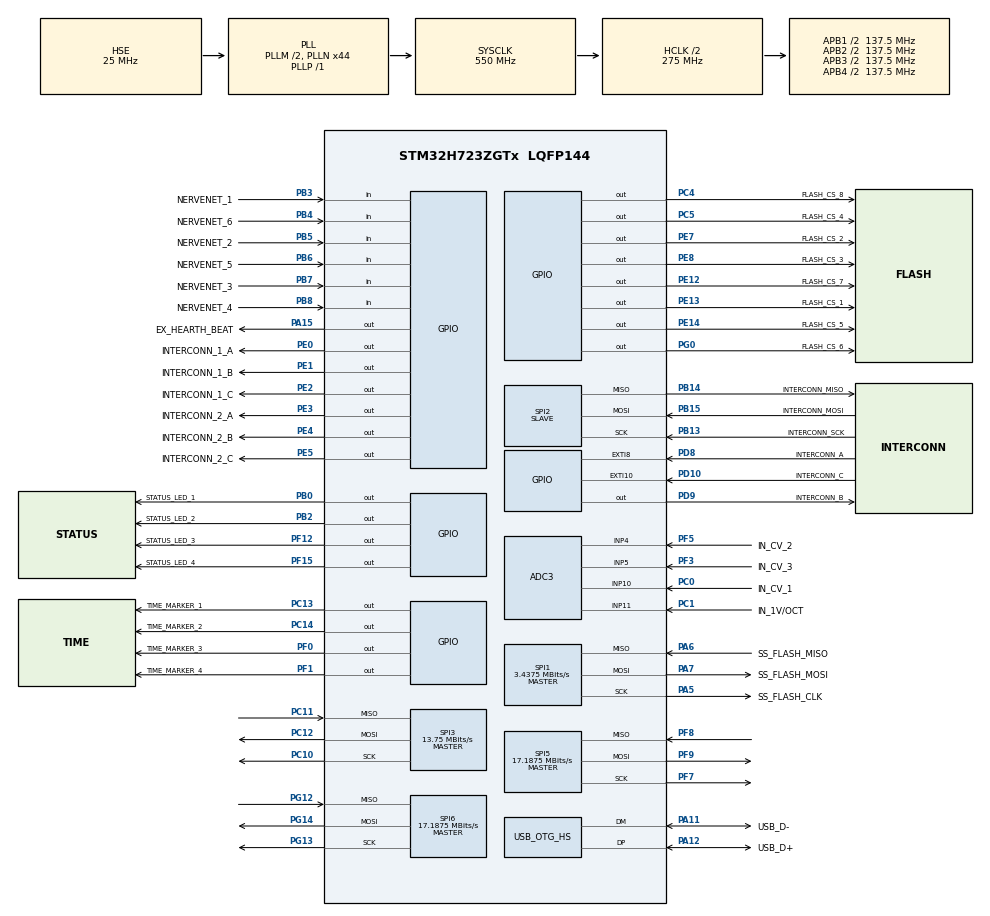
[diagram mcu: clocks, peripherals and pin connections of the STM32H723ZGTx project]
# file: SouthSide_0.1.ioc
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ADC3.Channel-0\#ChannelRegularConversion=ADC_CHANNEL_5
ADC3.NbrOfConversionFlag=1
ADC3.OffsetNumber-0\#ChannelRegularConversion=ADC_OFFSET_NONE
ADC3.OffsetSign-0\#ChannelRegularConversion=ADC3_OFFSET_SIGN_NEGATIVE
ADC3.Rank-0\#ChannelRegularConversion=1
ADC3.SamplingTime-0\#ChannelRegularConversion=ADC3_SAMPLETIME_2CYCLES_5
CORTEX_M7.default_mode_Activation=1
Dma.Request0=SPI2_RX
Dma.Request1=SPI2_TX
Dma.SPI2_RX.0.Direction=DMA_PERIPH_TO_MEMORY
Dma.SPI2_RX.0.EventEnable=DISABLE
Dma.SPI2_RX.0.FIFOMode=DMA_FIFOMODE_DISABLE
Dma.SPI2_RX.0.Instance=DMA1_Stream0
Dma.SPI2_RX.0.MemDataAlignment=DMA_MDATAALIGN_BYTE
Dma.SPI2_RX.0.MemInc=DMA_MINC_ENABLE
Dma.SPI2_RX.0.Mode=DMA_NORMAL
Dma.SPI2_RX.0.PeriphDataAlignment=DMA_PDATAALIGN_BYTE
Dma.SPI2_RX.0.PeriphInc=DMA_PINC_DISABLE
Dma.SPI2_RX.0.Polarity=HAL_DMAMUX_REQ_GEN_RISING
Dma.SPI2_RX.0.Priority=DMA_PRIORITY_VERY_HIGH
Dma.SPI2_RX.0.RequestNumber=1
Dma.SPI2_RX.0.SignalID=NONE
Dma.SPI2_RX.0.SyncEnable=DISABLE
Dma.SPI2_RX.0.SyncPolarity=HAL_DMAMUX_SYNC_NO_EVENT
Dma.SPI2_RX.0.SyncRequestNumber=1
Dma.SPI2_RX.0.SyncSignalID=NONE
Dma.SPI2_TX.1.Direction=DMA_MEMORY_TO_PERIPH
Dma.SPI2_TX.1.EventEnable=DISABLE
Dma.SPI2_TX.1.FIFOMode=DMA_FIFOMODE_DISABLE
Dma.SPI2_TX.1.Instance=DMA1_Stream1
Dma.SPI2_TX.1.MemDataAlignment=DMA_MDATAALIGN_BYTE
Dma.SPI2_TX.1.MemInc=DMA_MINC_ENABLE
Dma.SPI2_TX.1.Mode=DMA_NORMAL
Dma.SPI2_TX.1.PeriphDataAlignment=DMA_PDATAALIGN_BYTE
Dma.SPI2_TX.1.PeriphInc=DMA_PINC_DISABLE
Dma.SPI2_TX.1.Polarity=HAL_DMAMUX_REQ_GEN_RISING
Dma.SPI2_TX.1.Priority=DMA_PRIORITY_VERY_HIGH
Dma.SPI2_TX.1.RequestNumber=1
Dma.SPI2_TX.1.SignalID=NONE
Dma.SPI2_TX.1.SyncEnable=DISABLE
Dma.SPI2_TX.1.SyncPolarity=HAL_DMAMUX_SYNC_NO_EVENT
Dma.SPI2_TX.1.SyncRequestNumber=1
Dma.SPI2_TX.1.SyncSignalID=NONE
FREERTOS.Tasks01=defaultTask,24,128,StartDefaultTask,Default,NULL,Dynamic,NULL,NULL
FREERTOS.configENABLE_FPU=1
FREERTOS.configTOTAL_HEAP_SIZE=32768
FREERTOS.configUSE_NEWLIB_REENTRANT=1
Mcu.Family=STM32H7
Mcu.Name=STM32H723ZGTx
Mcu.Package=LQFP144
NVIC.DMA1_Stream0_IRQn=true\:5\:0\:false\:false\:true\:false\:false\:true\:true
NVIC.DMA1_Stream1_IRQn=true\:5\:0\:false\:false\:true\:false\:false\:true\:true
NVIC.EXTI15_10_IRQn=true\:5\:0\:false\:false\:true\:true\:true\:true\:true
NVIC.EXTI9_5_IRQn=true\:5\:0\:false\:false\:true\:true\:true\:true\:true
NVIC.PriorityGroup=NVIC_PRIORITYGROUP_4
NVIC.SPI2_IRQn=true\:5\:0\:false\:false\:true\:true\:false\:true\:true
NVIC.TIM15_IRQn=true\:5\:0\:false\:false\:true\:false\:true\:true\:true
NVIC.TIM1_UP_IRQn=true\:15\:0\:false\:false\:true\:false\:false\:true\:true
NVIC.TIM3_IRQn=true\:5\:0\:true\:false\:true\:false\:true\:true\:true
NVIC.TimeBase=TIM1_UP_IRQn
NVIC.TimeBaseIP=TIM1
PA11.GPIO_Label=USB_D-
PA11.Mode=Device_Only_FS
PA11.Signal=USB_OTG_HS_DM
PA12.GPIO_Label=USB_D+
PA12.Mode=Device_Only_FS
PA12.Signal=USB_OTG_HS_DP
PA13(JTMS/SWDIO).Mode=Serial_Wire
PA13(JTMS/SWDIO).Signal=DEBUG_JTMS-SWDIO
PA14(JTCK/SWCLK).Mode=Serial_Wire
PA14(JTCK/SWCLK).Signal=DEBUG_JTCK-SWCLK
PA15(JTDI).GPIO_Label=EX_HEARTH_BEAT
PA15(JTDI).Signal=GPIO_Output
PA5.GPIO_Label=SS_FLASH_CLK
PA5.Mode=Full_Duplex_Master
PA5.Signal=SPI1_SCK
PA6.GPIO_Label=SS_FLASH_MISO
PA6.Mode=Full_Duplex_Master
PA6.Signal=SPI1_MISO
PA7.GPIO_Label=SS_FLASH_MOSI
PA7.Mode=Full_Duplex_Master
PA7.Signal=SPI1_MOSI
PB0.GPIO_Label=STATUS_LED_1
PB0.Signal=GPIO_Output
PB13.GPIO_Label=INTERCONN_SCK
PB13.Mode=Full_Duplex_Slave
PB13.Signal=SPI2_SCK
PB14.GPIO_Label=INTERCONN_MISO
PB14.Mode=Full_Duplex_Slave
PB14.Signal=SPI2_MISO
PB15.GPIO_Label=INTERCONN_MOSI
PB15.Mode=Full_Duplex_Slave
PB15.Signal=SPI2_MOSI
PB2.GPIO_Label=STATUS_LED_2
PB2.Signal=GPIO_Output
PB3(JTDO/TRACESWO).GPIO_Label=NERVENET_1
PB3(JTDO/TRACESWO).Signal=GPIO_Input
PB4(NJTRST).GPIO_Label=NERVENET_6
PB4(NJTRST).Signal=GPIO_Input
PB5.GPIO_Label=NERVENET_2
PB5.Signal=GPIO_Input
PB6.GPIO_Label=NERVENET_5
PB6.Signal=GPIO_Input
PB7.GPIO_Label=NERVENET_3
PB7.Signal=GPIO_Input
PB8.GPIO_Label=NERVENET_4
PB8.Signal=GPIO_Input
PC0.GPIO_Label=IN_CV_1
PC0.Signal=ADCx_INP10
PC1.GPIO_Label=IN_1V/OCT
PC1.Signal=ADCx_INP11
PC10.Mode=Full_Duplex_Master
PC10.Signal=SPI3_SCK
PC11.Mode=Full_Duplex_Master
PC11.Signal=SPI3_MISO
PC12.Mode=Full_Duplex_Master
PC12.Signal=SPI3_MOSI
PC13.GPIO_Label=TIME_MARKER_1
PC13.Signal=GPIO_Output
PC14-OSC32_IN.GPIO_Label=TIME_MARKER_2
PC14-OSC32_IN.Signal=GPIO_Output
PC4.GPIO_Label=FLASH_CS_8
PC4.Signal=GPIO_Output
PC5.GPIO_Label=FLASH_CS_4
PC5.Signal=GPIO_Output
PD10.GPIO_Label=INTERCONN_C
PD10.GPIO_ModeDefaultEXTI=GPIO_MODE_IT_FALLING
PD10.Signal=GPXTI10
PD8.GPIO_Label=INTERCONN_A
PD8.GPIO_ModeDefaultEXTI=GPIO_MODE_IT_RISING_FALLING
PD8.Signal=GPXTI8
PD9.GPIO_Label=INTERCONN_B
PD9.GPIO_PuPd=GPIO_PULLUP
PD9.GPIO_Speed=GPIO_SPEED_FREQ_MEDIUM
PD9.PinState=GPIO_PIN_RESET
PD9.Signal=GPIO_Output
PE0.GPIO_Label=INTERCONN_1_A
PE0.Signal=GPIO_Output
PE1.GPIO_Label=INTERCONN_1_B
PE1.Signal=GPIO_Output
PE12.GPIO_Label=FLASH_CS_7
PE12.Signal=GPIO_Output
PE13.GPIO_Label=FLASH_CS_1
PE13.Signal=GPIO_Output
PE14.GPIO_Label=FLASH_CS_5
PE14.Signal=GPIO_Output
PE2.GPIO_Label=INTERCONN_1_C
PE2.Signal=GPIO_Output
PE3.GPIO_Label=INTERCONN_2_A
PE3.Signal=GPIO_Output
PE4.GPIO_Label=INTERCONN_2_B
PE4.Signal=GPIO_Output
PE5.GPIO_Label=INTERCONN_2_C
PE5.Signal=GPIO_Output
PE7.GPIO_Label=FLASH_CS_2
PE7.Signal=GPIO_Output
PE8.GPIO_Label=FLASH_CS_3
PE8.Signal=GPIO_Output
PF0.GPIO_Label=TIME_MARKER_3
PF0.Signal=GPIO_Output
PF1.GPIO_Label=TIME_MARKER_4
PF1.Signal=GPIO_Output
PF12.GPIO_Label=STATUS_LED_3
PF12.Signal=GPIO_Output
PF15.GPIO_Label=STATUS_LED_4
PF15.Signal=GPIO_Output
PF3.GPIO_Label=IN_CV_3
PF3.Mode=IN5-Single-Ended
PF3.Signal=ADC3_INP5
PF5.GPIO_Label=IN_CV_2
PF5.Mode=IN4-Single-Ended
PF5.Signal=ADC3_INP4
PF7.Mode=Full_Duplex_Master
PF7.Signal=SPI5_SCK
PF8.Mode=Full_Duplex_Master
PF8.Signal=SPI5_MISO
PF9.Mode=Full_Duplex_Master
PF9.Signal=SPI5_MOSI
PG0.GPIO_Label=FLASH_CS_6
PG0.Signal=GPIO_Output
PG12.Mode=Full_Duplex_Master
PG12.Signal=SPI6_MISO
PG13.Mode=Full_Duplex_Master
PG13.Signal=SPI6_SCK
PG14.Mode=Full_Duplex_Master
PG14.Signal=SPI6_MOSI
PH0-OSC_IN.Mode=HSE-External-Oscillator
PH0-OSC_IN.Signal=RCC_OSC_IN
PH1-OSC_OUT.Mode=HSE-External-Oscillator
PH1-OSC_OUT.Signal=RCC_OSC_OUT
ProjectManager.HeapSize=0x200
ProjectManager.StackSize=0x400
ProjectManager.TargetToolchain=STM32CubeIDE
RCC.ADCFreq_Value=100000000
RCC.APB1Freq_Value=137500000
RCC.APB2Freq_Value=137500000
RCC.APB3Freq_Value=137500000
RCC.APB4Freq_Value=137500000
RCC.CortexFreq_Value=550000000
RCC.D1PPRE=RCC_APB3_DIV2
RCC.D2PPRE1=RCC_APB1_DIV2
RCC.D2PPRE2=RCC_APB2_DIV2
RCC.D3PPRE=RCC_APB4_DIV2
RCC.DIVM1=2
RCC.DIVM2=2
RCC.DIVN1=44
RCC.DIVN2=16
RCC.DIVP1=1
RCC.DIVQ1=5
RCC.HCLKFreq_Value=275000000
RCC.HPRE=RCC_HCLK_DIV2
RCC.PLL2FRACN=0
RCC.PLL3FRACN=0
RCC.PLLFRACN=0
RCC.SYSCLKFreq_VALUE=550000000
RCC.SYSCLKSource=RCC_SYSCLKSOURCE_PLLCLK
RCC.USBFreq_Value=110000000
SH.ADCx_INP10.0=ADC3_INP10,IN10-Single-Ended
SH.ADCx_INP11.0=ADC3_INP11,IN11-Single-Ended
SPI1.BaudRatePrescaler=SPI_BAUDRATEPRESCALER_32
SPI1.CalculateBaudRate=3.4375 MBits/s
SPI1.DataSize=SPI_DATASIZE_8BIT
SPI1.Direction=SPI_DIRECTION_2LINES
SPI1.Mode=SPI_MODE_MASTER
SPI1.VirtualType=VM_MASTER
SPI2.DataSize=SPI_DATASIZE_8BIT
SPI2.Direction=SPI_DIRECTION_2LINES
SPI2.Mode=SPI_MODE_SLAVE
SPI2.VirtualType=VM_SLAVE
SPI3.BaudRatePrescaler=SPI_BAUDRATEPRESCALER_8
SPI3.CalculateBaudRate=13.75 MBits/s
SPI3.DataSize=SPI_DATASIZE_8BIT
SPI3.Direction=SPI_DIRECTION_2LINES
SPI3.Mode=SPI_MODE_MASTER
SPI3.VirtualType=VM_MASTER
SPI5.BaudRatePrescaler=SPI_BAUDRATEPRESCALER_8
SPI5.CalculateBaudRate=17.1875 MBits/s
SPI5.DataSize=SPI_DATASIZE_8BIT
SPI5.Direction=SPI_DIRECTION_2LINES
SPI5.Mode=SPI_MODE_MASTER
SPI5.VirtualType=VM_MASTER
SPI6.BaudRatePrescaler=SPI_BAUDRATEPRESCALER_8
SPI6.CalculateBaudRate=17.1875 MBits/s
SPI6.DataSize=SPI_DATASIZE_8BIT
SPI6.Direction=SPI_DIRECTION_2LINES
SPI6.Mode=SPI_MODE_MASTER
SPI6.VirtualType=VM_MASTER
TIM15.Period=1000 - 1
TIM15.Prescaler=1000 - 1
TIM2.Period=10 - 1
TIM2.Prescaler=2750 - 1
TIM3.Period=50 - 1
TIM3.Prescaler=27500 - 1
TIM5.Period=1000000000 - 1
TIM5.Prescaler=275 - 1
USB_OTG_HS.VirtualMode-Device_Only_FS=Device_Only_FS
VP_FREERTOS_VS_CMSIS_V2.Mode=CMSIS_V2
VP_MEMORYMAP_VS_MEMORYMAP.Mode=CurAppReg
VP_SYS_VS_tim1.Mode=TIM1
VP_TIM15_VS_ClockSourceINT.Mode=Internal
VP_TIM2_VS_ClockSourceINT.Mode=Internal
VP_TIM3_VS_ClockSourceINT.Mode=Internal
VP_TIM5_VS_ClockSourceINT.Mode=Internal
board=custom

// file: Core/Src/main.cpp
/* USER CODE BEGIN Header */
/**
  ******************************************************************************
  * @file           : main.c
  * @brief          : Main program body
  ******************************************************************************
  * @attention
  *
  * Copyright (c) 2024 STMicroelectronics.
  * All rights reserved.
  *
  * This software is licensed under terms that can be found in the LICENSE file
  * in the root directory of this software component.
  * If no LICENSE file comes with this software, it is provided AS-IS.
  *
  ******************************************************************************
  */
/* USER CODE END Header */
#include "main.h"
#include "cmsis_os.h"

/* USER CODE BEGIN Includes */

#include "CasualNoises.h"

#include "SouthSideAudioProcessor.h"

//#include "NorthSouthComThread.h"

/* USER CODE END Includes */

ADC_HandleTypeDef hadc3;

SPI_HandleTypeDef hspi1;
SPI_HandleTypeDef hspi2;
SPI_HandleTypeDef hspi3;
SPI_HandleTypeDef hspi5;
SPI_HandleTypeDef hspi6;
DMA_HandleTypeDef hdma_spi2_rx;
DMA_HandleTypeDef hdma_spi2_tx;

TIM_HandleTypeDef htim2;
TIM_HandleTypeDef htim3;
TIM_HandleTypeDef htim5;
TIM_HandleTypeDef htim15;

PCD_HandleTypeDef hpcd_USB_OTG_HS;

/* Definitions for defaultTask */
osThreadId_t defaultTaskHandle;
const osThreadAttr_t defaultTask_attributes = {
  .name = "defaultTask",
  .stack_size = 128 * 4,
  .priority = (osPriority_t) osPriorityNormal,
};

void SystemClock_Config(void);
static void MPU_Config(void);
static void MX_GPIO_Init(void);
static void MX_DMA_Init(void);
static void MX_USB_OTG_HS_PCD_Init(void);
static void MX_SPI1_Init(void);
static void MX_SPI2_Init(void);
static void MX_SPI3_Init(void);
static void MX_SPI5_Init(void);
static void MX_SPI6_Init(void);
static void MX_ADC3_Init(void);
static void MX_TIM5_Init(void);
static void MX_TIM2_Init(void);
static void MX_TIM3_Init(void);
static void MX_TIM15_Init(void);
void StartDefaultTask(void *argument);

/* USER CODE BEGIN 0 */

/*
 * displayStatus()
 */
void displayStatus(eStatusCodes status)
{
	uint32_t code = (uint32_t)status;
	HAL_GPIO_WritePin(GPIOB, STATUS_LED_2_Pin|STATUS_LED_1_Pin, GPIO_PIN_SET);
	HAL_GPIO_WritePin(GPIOF, STATUS_LED_4_Pin|STATUS_LED_3_Pin, GPIO_PIN_SET);
	if (code & 0x00000001)
		HAL_GPIO_WritePin(GPIOB, STATUS_LED_1_Pin, GPIO_PIN_RESET);
	if (code & 0x00000002)
		HAL_GPIO_WritePin(GPIOB, STATUS_LED_2_Pin, GPIO_PIN_RESET);
	if (code & 0x00000004)
		HAL_GPIO_WritePin(GPIOF, STATUS_LED_3_Pin, GPIO_PIN_RESET);
	if (code & 0x00000008)
		HAL_GPIO_WritePin(GPIOF, STATUS_LED_4_Pin, GPIO_PIN_RESET);
}

/*
 * Time marker functions used for performance measurement using a logic analyzer
 */
void toggleTimeMarker_1()
{
	HAL_GPIO_TogglePin(GPIOC, TIME_MARKER_1_Pin);
}

void setTimeMarker_1()
{
	HAL_GPIO_WritePin(GPIOC, TIME_MARKER_1_Pin, GPIO_PIN_SET);
}

void resetTimeMarker_1()
{
	HAL_GPIO_WritePin(GPIOC, TIME_MARKER_1_Pin, GPIO_PIN_RESET);
}

void toggleTimeMarker_2()
{
	HAL_GPIO_TogglePin(GPIOC, TIME_MARKER_2_Pin);
}

void setTimeMarker_2()
{
	HAL_GPIO_WritePin(GPIOC, TIME_MARKER_2_Pin, GPIO_PIN_SET);
}

void resetTimeMarker_2()
{
	HAL_GPIO_WritePin(GPIOC, TIME_MARKER_2_Pin, GPIO_PIN_RESET);
}

void toggleTimeMarker_3()
{
	HAL_GPIO_TogglePin(GPIOF, TIME_MARKER_3_Pin);
}

void setTimeMarker_3()
{
	HAL_GPIO_WritePin(GPIOF, TIME_MARKER_3_Pin, GPIO_PIN_SET);
}

void resetTimeMarker_3()
{
	HAL_GPIO_WritePin(GPIOF, TIME_MARKER_3_Pin, GPIO_PIN_RESET);
}

void toggleTimeMarker_4()
{
	HAL_GPIO_TogglePin(GPIOF, TIME_MARKER_4_Pin);
}

void setTimeMarker_4()
{
	HAL_GPIO_WritePin(GPIOF, TIME_MARKER_4_Pin, GPIO_PIN_SET);
}

void resetTimeMarker_4()
{
	HAL_GPIO_WritePin(GPIOF, TIME_MARKER_4_Pin, GPIO_PIN_RESET);
}
/*
static CasualNoises::TLV_Driver* TLV_DriverPtr = nullptr;
void* getTLV_DriverPtr()
{
	return TLV_DriverPtr;
}
*/
/* USER CODE END 0 */

int main(void)
{

  /* MPU Configuration--------------------------------------------------------*/
  MPU_Config();

  /* MCU Configuration--------------------------------------------------------*/

  /* Reset of all peripherals, Initializes the Flash interface and the Systick. */
  HAL_Init();

  /* Configure the system clock */
  SystemClock_Config();

  /* Initialize all configured peripherals */
  MX_GPIO_Init();
  MX_DMA_Init();
  MX_USB_OTG_HS_PCD_Init();
  MX_SPI1_Init();
  MX_SPI2_Init();
  MX_SPI3_Init();
  MX_SPI5_Init();
  MX_SPI6_Init();
  MX_ADC3_Init();
  MX_TIM5_Init();
  MX_TIM2_Init();
  MX_TIM3_Init();
  MX_TIM15_Init();
  /* USER CODE BEGIN 2 */

  HAL_TIM_Base_Start_IT(&htim3);			// ToDo: do this in the appropriate gate/trigger thread
  HAL_TIM_Base_Start_IT(&htim15);			// ToDo: remove this, timer 15 is not used

  /* USER CODE END 2 */

  /* Init scheduler */
  osKernelInitialize();

  /* Create the thread(s) */
  /* creation of defaultTask */
  defaultTaskHandle = osThreadNew(StartDefaultTask, NULL, &defaultTask_attributes);

  /* Start scheduler */
  osKernelStart();

  /* We should never get here as control is now taken by the scheduler */

  /* Infinite loop */
  while (1)
  {

  }
}

void SystemClock_Config(void)
{
  RCC_OscInitTypeDef RCC_OscInitStruct = {0};
  RCC_ClkInitTypeDef RCC_ClkInitStruct = {0};

  /** Supply configuration update enable
  */
  HAL_PWREx_ConfigSupply(PWR_LDO_SUPPLY);

  /** Configure the main internal regulator output voltage
  */
  __HAL_PWR_VOLTAGESCALING_CONFIG(PWR_REGULATOR_VOLTAGE_SCALE0);

  while(!__HAL_PWR_GET_FLAG(PWR_FLAG_VOSRDY)) {}

  /** Initializes the RCC Oscillators according to the specified parameters
  * in the RCC_OscInitTypeDef structure.
  */
  RCC_OscInitStruct.OscillatorType = RCC_OSCILLATORTYPE_HSE;
  RCC_OscInitStruct.HSEState = RCC_HSE_ON;
  RCC_OscInitStruct.PLL.PLLState = RCC_PLL_ON;
  RCC_OscInitStruct.PLL.PLLSource = RCC_PLLSOURCE_HSE;
  RCC_OscInitStruct.PLL.PLLM = 2;
  RCC_OscInitStruct.PLL.PLLN = 44;
  RCC_OscInitStruct.PLL.PLLP = 1;
  RCC_OscInitStruct.PLL.PLLQ = 5;
  RCC_OscInitStruct.PLL.PLLR = 2;
  RCC_OscInitStruct.PLL.PLLRGE = RCC_PLL1VCIRANGE_3;
  RCC_OscInitStruct.PLL.PLLVCOSEL = RCC_PLL1VCOWIDE;
  RCC_OscInitStruct.PLL.PLLFRACN = 0;
  if (HAL_RCC_OscConfig(&RCC_OscInitStruct) != HAL_OK)
  {
    Error_Handler();
  }

  /** Initializes the CPU, AHB and APB buses clocks
  */
  RCC_ClkInitStruct.ClockType = RCC_CLOCKTYPE_HCLK|RCC_CLOCKTYPE_SYSCLK
                              |RCC_CLOCKTYPE_PCLK1|RCC_CLOCKTYPE_PCLK2
                              |RCC_CLOCKTYPE_D3PCLK1|RCC_CLOCKTYPE_D1PCLK1;
  RCC_ClkInitStruct.SYSCLKSource = RCC_SYSCLKSOURCE_PLLCLK;
  RCC_ClkInitStruct.SYSCLKDivider = RCC_SYSCLK_DIV1;
  RCC_ClkInitStruct.AHBCLKDivider = RCC_HCLK_DIV2;
  RCC_ClkInitStruct.APB3CLKDivider = RCC_APB3_DIV2;
  RCC_ClkInitStruct.APB1CLKDivider = RCC_APB1_DIV2;
  RCC_ClkInitStruct.APB2CLKDivider = RCC_APB2_DIV2;
  RCC_ClkInitStruct.APB4CLKDivider = RCC_APB4_DIV2;

  if (HAL_RCC_ClockConfig(&RCC_ClkInitStruct, FLASH_LATENCY_3) != HAL_OK)
  {
    Error_Handler();
  }
}

static void MX_ADC3_Init(void)
{

  ADC_ChannelConfTypeDef sConfig = {0};

  /** Common config
  */
  hadc3.Instance = ADC3;
  hadc3.Init.ClockPrescaler = ADC_CLOCK_ASYNC_DIV1;
  hadc3.Init.Resolution = ADC_RESOLUTION_12B;
  hadc3.Init.DataAlign = ADC3_DATAALIGN_RIGHT;
  hadc3.Init.ScanConvMode = ADC_SCAN_DISABLE;
  hadc3.Init.EOCSelection = ADC_EOC_SINGLE_CONV;
  hadc3.Init.LowPowerAutoWait = DISABLE;
  hadc3.Init.ContinuousConvMode = DISABLE;
  hadc3.Init.NbrOfConversion = 1;
  hadc3.Init.DiscontinuousConvMode = DISABLE;
  hadc3.Init.ExternalTrigConv = ADC_SOFTWARE_START;
  hadc3.Init.ExternalTrigConvEdge = ADC_EXTERNALTRIGCONVEDGE_NONE;
  hadc3.Init.DMAContinuousRequests = DISABLE;
  hadc3.Init.SamplingMode = ADC_SAMPLING_MODE_NORMAL;
  hadc3.Init.ConversionDataManagement = ADC_CONVERSIONDATA_DR;
  hadc3.Init.Overrun = ADC_OVR_DATA_PRESERVED;
  hadc3.Init.LeftBitShift = ADC_LEFTBITSHIFT_NONE;
  hadc3.Init.OversamplingMode = DISABLE;
  hadc3.Init.Oversampling.Ratio = ADC3_OVERSAMPLING_RATIO_2;
  if (HAL_ADC_Init(&hadc3) != HAL_OK)
  {
    Error_Handler();
  }

  /** Configure Regular Channel
  */
  sConfig.Channel = ADC_CHANNEL_5;
  sConfig.Rank = ADC_REGULAR_RANK_1;
  sConfig.SamplingTime = ADC3_SAMPLETIME_2CYCLES_5;
  sConfig.SingleDiff = ADC_SINGLE_ENDED;
  sConfig.OffsetNumber = ADC_OFFSET_NONE;
  sConfig.Offset = 0;
  sConfig.OffsetSign = ADC3_OFFSET_SIGN_NEGATIVE;
  if (HAL_ADC_ConfigChannel(&hadc3, &sConfig) != HAL_OK)
  {
    Error_Handler();
  }

}

static void MX_SPI1_Init(void)
{

  /* SPI1 parameter configuration*/
  hspi1.Instance = SPI1;
  hspi1.Init.Mode = SPI_MODE_MASTER;
  hspi1.Init.Direction = SPI_DIRECTION_2LINES;
  hspi1.Init.DataSize = SPI_DATASIZE_8BIT;
  hspi1.Init.CLKPolarity = SPI_POLARITY_LOW;
  hspi1.Init.CLKPhase = SPI_PHASE_1EDGE;
  hspi1.Init.NSS = SPI_NSS_SOFT;
  hspi1.Init.BaudRatePrescaler = SPI_BAUDRATEPRESCALER_32;
  hspi1.Init.FirstBit = SPI_FIRSTBIT_MSB;
  hspi1.Init.TIMode = SPI_TIMODE_DISABLE;
  hspi1.Init.CRCCalculation = SPI_CRCCALCULATION_DISABLE;
  hspi1.Init.CRCPolynomial = 0x0;
  hspi1.Init.NSSPMode = SPI_NSS_PULSE_ENABLE;
  hspi1.Init.NSSPolarity = SPI_NSS_POLARITY_LOW;
  hspi1.Init.FifoThreshold = SPI_FIFO_THRESHOLD_01DATA;
  hspi1.Init.TxCRCInitializationPattern = SPI_CRC_INITIALIZATION_ALL_ZERO_PATTERN;
  hspi1.Init.RxCRCInitializationPattern = SPI_CRC_INITIALIZATION_ALL_ZERO_PATTERN;
  hspi1.Init.MasterSSIdleness = SPI_MASTER_SS_IDLENESS_00CYCLE;
  hspi1.Init.MasterInterDataIdleness = SPI_MASTER_INTERDATA_IDLENESS_00CYCLE;
  hspi1.Init.MasterReceiverAutoSusp = SPI_MASTER_RX_AUTOSUSP_DISABLE;
  hspi1.Init.MasterKeepIOState = SPI_MASTER_KEEP_IO_STATE_DISABLE;
  hspi1.Init.IOSwap = SPI_IO_SWAP_DISABLE;
  if (HAL_SPI_Init(&hspi1) != HAL_OK)
  {
    Error_Handler();
  }

}

static void MX_SPI2_Init(void)
{

  /* SPI2 parameter configuration*/
  hspi2.Instance = SPI2;
  hspi2.Init.Mode = SPI_MODE_SLAVE;
  hspi2.Init.Direction = SPI_DIRECTION_2LINES;
  hspi2.Init.DataSize = SPI_DATASIZE_8BIT;
  hspi2.Init.CLKPolarity = SPI_POLARITY_LOW;
  hspi2.Init.CLKPhase = SPI_PHASE_1EDGE;
  hspi2.Init.NSS = SPI_NSS_SOFT;
  hspi2.Init.FirstBit = SPI_FIRSTBIT_MSB;
  hspi2.Init.TIMode = SPI_TIMODE_DISABLE;
  hspi2.Init.CRCCalculation = SPI_CRCCALCULATION_DISABLE;
  hspi2.Init.CRCPolynomial = 0x0;
  hspi2.Init.NSSPMode = SPI_NSS_PULSE_DISABLE;
  hspi2.Init.NSSPolarity = SPI_NSS_POLARITY_LOW;
  hspi2.Init.FifoThreshold = SPI_FIFO_THRESHOLD_01DATA;
  hspi2.Init.TxCRCInitializationPattern = SPI_CRC_INITIALIZATION_ALL_ZERO_PATTERN;
  hspi2.Init.RxCRCInitializationPattern = SPI_CRC_INITIALIZATION_ALL_ZERO_PATTERN;
  hspi2.Init.MasterSSIdleness = SPI_MASTER_SS_IDLENESS_00CYCLE;
  hspi2.Init.MasterInterDataIdleness = SPI_MASTER_INTERDATA_IDLENESS_00CYCLE;
  hspi2.Init.MasterReceiverAutoSusp = SPI_MASTER_RX_AUTOSUSP_DISABLE;
  hspi2.Init.MasterKeepIOState = SPI_MASTER_KEEP_IO_STATE_DISABLE;
  hspi2.Init.IOSwap = SPI_IO_SWAP_DISABLE;
  if (HAL_SPI_Init(&hspi2) != HAL_OK)
  {
    Error_Handler();
  }

}

static void MX_SPI3_Init(void)
{

  /* SPI3 parameter configuration*/
  hspi3.Instance = SPI3;
  hspi3.Init.Mode = SPI_MODE_MASTER;
  hspi3.Init.Direction = SPI_DIRECTION_2LINES;
  hspi3.Init.DataSize = SPI_DATASIZE_8BIT;
  hspi3.Init.CLKPolarity = SPI_POLARITY_LOW;
  hspi3.Init.CLKPhase = SPI_PHASE_1EDGE;
  hspi3.Init.NSS = SPI_NSS_SOFT;
  hspi3.Init.BaudRatePrescaler = SPI_BAUDRATEPRESCALER_8;
  hspi3.Init.FirstBit = SPI_FIRSTBIT_MSB;
  hspi3.Init.TIMode = SPI_TIMODE_DISABLE;
  hspi3.Init.CRCCalculation = SPI_CRCCALCULATION_DISABLE;
  hspi3.Init.CRCPolynomial = 0x0;
  hspi3.Init.NSSPMode = SPI_NSS_PULSE_ENABLE;
  hspi3.Init.NSSPolarity = SPI_NSS_POLARITY_LOW;
  hspi3.Init.FifoThreshold = SPI_FIFO_THRESHOLD_01DATA;
  hspi3.Init.TxCRCInitializationPattern = SPI_CRC_INITIALIZATION_ALL_ZERO_PATTERN;
  hspi3.Init.RxCRCInitializationPattern = SPI_CRC_INITIALIZATION_ALL_ZERO_PATTERN;
  hspi3.Init.MasterSSIdleness = SPI_MASTER_SS_IDLENESS_00CYCLE;
  hspi3.Init.MasterInterDataIdleness = SPI_MASTER_INTERDATA_IDLENESS_00CYCLE;
  hspi3.Init.MasterReceiverAutoSusp = SPI_MASTER_RX_AUTOSUSP_DISABLE;
  hspi3.Init.MasterKeepIOState = SPI_MASTER_KEEP_IO_STATE_DISABLE;
  hspi3.Init.IOSwap = SPI_IO_SWAP_DISABLE;
  if (HAL_SPI_Init(&hspi3) != HAL_OK)
  {
    Error_Handler();
  }

}

static void MX_SPI5_Init(void)
{

  /* SPI5 parameter configuration*/
  hspi5.Instance = SPI5;
  hspi5.Init.Mode = SPI_MODE_MASTER;
  hspi5.Init.Direction = SPI_DIRECTION_2LINES;
  hspi5.Init.DataSize = SPI_DATASIZE_8BIT;
  hspi5.Init.CLKPolarity = SPI_POLARITY_LOW;
  hspi5.Init.CLKPhase = SPI_PHASE_1EDGE;
  hspi5.Init.NSS = SPI_NSS_SOFT;
  hspi5.Init.BaudRatePrescaler = SPI_BAUDRATEPRESCALER_8;
  hspi5.Init.FirstBit = SPI_FIRSTBIT_MSB;
  hspi5.Init.TIMode = SPI_TIMODE_DISABLE;
  hspi5.Init.CRCCalculation = SPI_CRCCALCULATION_DISABLE;
  hspi5.Init.CRCPolynomial = 0x0;
  hspi5.Init.NSSPMode = SPI_NSS_PULSE_ENABLE;
  hspi5.Init.NSSPolarity = SPI_NSS_POLARITY_LOW;
  hspi5.Init.FifoThreshold = SPI_FIFO_THRESHOLD_01DATA;
  hspi5.Init.TxCRCInitializationPattern = SPI_CRC_INITIALIZATION_ALL_ZERO_PATTERN;
  hspi5.Init.RxCRCInitializationPattern = SPI_CRC_INITIALIZATION_ALL_ZERO_PATTERN;
  hspi5.Init.MasterSSIdleness = SPI_MASTER_SS_IDLENESS_00CYCLE;
  hspi5.Init.MasterInterDataIdleness = SPI_MASTER_INTERDATA_IDLENESS_00CYCLE;
  hspi5.Init.MasterReceiverAutoSusp = SPI_MASTER_RX_AUTOSUSP_DISABLE;
  hspi5.Init.MasterKeepIOState = SPI_MASTER_KEEP_IO_STATE_DISABLE;
  hspi5.Init.IOSwap = SPI_IO_SWAP_DISABLE;
  if (HAL_SPI_Init(&hspi5) != HAL_OK)
  {
    Error_Handler();
  }

}

static void MX_SPI6_Init(void)
{

  /* SPI6 parameter configuration*/
  hspi6.Instance = SPI6;
  hspi6.Init.Mode = SPI_MODE_MASTER;
  hspi6.Init.Direction = SPI_DIRECTION_2LINES;
  hspi6.Init.DataSize = SPI_DATASIZE_8BIT;
  hspi6.Init.CLKPolarity = SPI_POLARITY_LOW;
  hspi6.Init.CLKPhase = SPI_PHASE_1EDGE;
  hspi6.Init.NSS = SPI_NSS_SOFT;
  hspi6.Init.BaudRatePrescaler = SPI_BAUDRATEPRESCALER_8;
  hspi6.Init.FirstBit = SPI_FIRSTBIT_MSB;
  hspi6.Init.TIMode = SPI_TIMODE_DISABLE;
  hspi6.Init.CRCCalculation = SPI_CRCCALCULATION_DISABLE;
  hspi6.Init.CRCPolynomial = 0x0;
  hspi6.Init.NSSPMode = SPI_NSS_PULSE_ENABLE;
  hspi6.Init.NSSPolarity = SPI_NSS_POLARITY_LOW;
  hspi6.Init.FifoThreshold = SPI_FIFO_THRESHOLD_01DATA;
  hspi6.Init.TxCRCInitializationPattern = SPI_CRC_INITIALIZATION_ALL_ZERO_PATTERN;
  hspi6.Init.RxCRCInitializationPattern = SPI_CRC_INITIALIZATION_ALL_ZERO_PATTERN;
  hspi6.Init.MasterSSIdleness = SPI_MASTER_SS_IDLENESS_00CYCLE;
  hspi6.Init.MasterInterDataIdleness = SPI_MASTER_INTERDATA_IDLENESS_00CYCLE;
  hspi6.Init.MasterReceiverAutoSusp = SPI_MASTER_RX_AUTOSUSP_DISABLE;
  hspi6.Init.MasterKeepIOState = SPI_MASTER_KEEP_IO_STATE_DISABLE;
  hspi6.Init.IOSwap = SPI_IO_SWAP_DISABLE;
  if (HAL_SPI_Init(&hspi6) != HAL_OK)
  {
    Error_Handler();
  }

}

static void MX_TIM2_Init(void)
{

  TIM_ClockConfigTypeDef sClockSourceConfig = {0};
  TIM_MasterConfigTypeDef sMasterConfig = {0};

  htim2.Instance = TIM2;
  htim2.Init.Prescaler = 2750 - 1;
  htim2.Init.CounterMode = TIM_COUNTERMODE_UP;
  htim2.Init.Period = 10 - 1;
  htim2.Init.ClockDivision = TIM_CLOCKDIVISION_DIV1;
  htim2.Init.AutoReloadPreload = TIM_AUTORELOAD_PRELOAD_DISABLE;
  if (HAL_TIM_Base_Init(&htim2) != HAL_OK)
  {
    Error_Handler();
  }
  sClockSourceConfig.ClockSource = TIM_CLOCKSOURCE_INTERNAL;
  if (HAL_TIM_ConfigClockSource(&htim2, &sClockSourceConfig) != HAL_OK)
  {
    Error_Handler();
  }
  sMasterConfig.MasterOutputTrigger = TIM_TRGO_RESET;
  sMasterConfig.MasterSlaveMode = TIM_MASTERSLAVEMODE_DISABLE;
  if (HAL_TIMEx_MasterConfigSynchronization(&htim2, &sMasterConfig) != HAL_OK)
  {
    Error_Handler();
  }

}

static void MX_TIM3_Init(void)
{

  TIM_ClockConfigTypeDef sClockSourceConfig = {0};
  TIM_MasterConfigTypeDef sMasterConfig = {0};

  htim3.Instance = TIM3;
  htim3.Init.Prescaler = 27500 - 1;
  htim3.Init.CounterMode = TIM_COUNTERMODE_UP;
  htim3.Init.Period = 50 - 1;
  htim3.Init.ClockDivision = TIM_CLOCKDIVISION_DIV1;
  htim3.Init.AutoReloadPreload = TIM_AUTORELOAD_PRELOAD_DISABLE;
  if (HAL_TIM_Base_Init(&htim3) != HAL_OK)
  {
    Error_Handler();
  }
  sClockSourceConfig.ClockSource = TIM_CLOCKSOURCE_INTERNAL;
  if (HAL_TIM_ConfigClockSource(&htim3, &sClockSourceConfig) != HAL_OK)
  {
    Error_Handler();
  }
  sMasterConfig.MasterOutputTrigger = TIM_TRGO_RESET;
  sMasterConfig.MasterSlaveMode = TIM_MASTERSLAVEMODE_DISABLE;
  if (HAL_TIMEx_MasterConfigSynchronization(&htim3, &sMasterConfig) != HAL_OK)
  {
    Error_Handler();
  }

}

static void MX_TIM5_Init(void)
{

  TIM_ClockConfigTypeDef sClockSourceConfig = {0};
  TIM_MasterConfigTypeDef sMasterConfig = {0};

  htim5.Instance = TIM5;
  htim5.Init.Prescaler = 275 - 1;
  htim5.Init.CounterMode = TIM_COUNTERMODE_UP;
  htim5.Init.Period = 1000000000 - 1;
  htim5.Init.ClockDivision = TIM_CLOCKDIVISION_DIV1;
  htim5.Init.AutoReloadPreload = TIM_AUTORELOAD_PRELOAD_DISABLE;
  if (HAL_TIM_Base_Init(&htim5) != HAL_OK)
  {
    Error_Handler();
  }
  sClockSourceConfig.ClockSource = TIM_CLOCKSOURCE_INTERNAL;
  if (HAL_TIM_ConfigClockSource(&htim5, &sClockSourceConfig) != HAL_OK)
  {
    Error_Handler();
  }
  sMasterConfig.MasterOutputTrigger = TIM_TRGO_RESET;
  sMasterConfig.MasterSlaveMode = TIM_MASTERSLAVEMODE_DISABLE;
  if (HAL_TIMEx_MasterConfigSynchronization(&htim5, &sMasterConfig) != HAL_OK)
  {
    Error_Handler();
  }

}

static void MX_TIM15_Init(void)
{

  TIM_ClockConfigTypeDef sClockSourceConfig = {0};
  TIM_MasterConfigTypeDef sMasterConfig = {0};

  htim15.Instance = TIM15;
  htim15.Init.Prescaler = 1000 - 1;
  htim15.Init.CounterMode = TIM_COUNTERMODE_UP;
  htim15.Init.Period = 1000 - 1;
  htim15.Init.ClockDivision = TIM_CLOCKDIVISION_DIV1;
  htim15.Init.RepetitionCounter = 0;
  htim15.Init.AutoReloadPreload = TIM_AUTORELOAD_PRELOAD_DISABLE;
  if (HAL_TIM_Base_Init(&htim15) != HAL_OK)
  {
    Error_Handler();
  }
  sClockSourceConfig.ClockSource = TIM_CLOCKSOURCE_INTERNAL;
  if (HAL_TIM_ConfigClockSource(&htim15, &sClockSourceConfig) != HAL_OK)
  {
    Error_Handler();
  }
  sMasterConfig.MasterOutputTrigger = TIM_TRGO_RESET;
  sMasterConfig.MasterSlaveMode = TIM_MASTERSLAVEMODE_DISABLE;
  if (HAL_TIMEx_MasterConfigSynchronization(&htim15, &sMasterConfig) != HAL_OK)
  {
    Error_Handler();
  }

}

static void MX_USB_OTG_HS_PCD_Init(void)
{

  hpcd_USB_OTG_HS.Instance = USB_OTG_HS;
  hpcd_USB_OTG_HS.Init.dev_endpoints = 9;
  hpcd_USB_OTG_HS.Init.speed = PCD_SPEED_FULL;
  hpcd_USB_OTG_HS.Init.dma_enable = DISABLE;
  hpcd_USB_OTG_HS.Init.phy_itface = USB_OTG_EMBEDDED_PHY;
  hpcd_USB_OTG_HS.Init.Sof_enable = DISABLE;
  hpcd_USB_OTG_HS.Init.low_power_enable = DISABLE;
  hpcd_USB_OTG_HS.Init.lpm_enable = DISABLE;
  hpcd_USB_OTG_HS.Init.vbus_sensing_enable = DISABLE;
  hpcd_USB_OTG_HS.Init.use_dedicated_ep1 = DISABLE;
  hpcd_USB_OTG_HS.Init.use_external_vbus = DISABLE;
  if (HAL_PCD_Init(&hpcd_USB_OTG_HS) != HAL_OK)
  {
    Error_Handler();
  }

}

static void MX_DMA_Init(void)
{

  /* DMA controller clock enable */
  __HAL_RCC_DMA1_CLK_ENABLE();

  /* DMA interrupt init */
  /* DMA1_Stream0_IRQn interrupt configuration */
  HAL_NVIC_SetPriority(DMA1_Stream0_IRQn, 5, 0);
  HAL_NVIC_EnableIRQ(DMA1_Stream0_IRQn);
  /* DMA1_Stream1_IRQn interrupt configuration */
  HAL_NVIC_SetPriority(DMA1_Stream1_IRQn, 5, 0);
  HAL_NVIC_EnableIRQ(DMA1_Stream1_IRQn);

}

static void MX_GPIO_Init(void)
{
  GPIO_InitTypeDef GPIO_InitStruct = {0};

  /* GPIO Ports Clock Enable */
  __HAL_RCC_GPIOE_CLK_ENABLE();
  __HAL_RCC_GPIOC_CLK_ENABLE();
  __HAL_RCC_GPIOF_CLK_ENABLE();
  __HAL_RCC_GPIOH_CLK_ENABLE();
  __HAL_RCC_GPIOA_CLK_ENABLE();
  __HAL_RCC_GPIOB_CLK_ENABLE();
  __HAL_RCC_GPIOG_CLK_ENABLE();
  __HAL_RCC_GPIOD_CLK_ENABLE();

  /*Configure GPIO pin Output Level */
  HAL_GPIO_WritePin(GPIOE, INTERCONN_1_C_Pin|INTERCONN_2_A_Pin|INTERCONN_2_B_Pin|INTERCONN_2_C_Pin
                          |FLASH_CS_2_Pin|FLASH_CS_3_Pin|FLASH_CS_7_Pin|FLASH_CS_1_Pin
                          |FLASH_CS_5_Pin|INTERCONN_1_A_Pin|INTERCONN_1_B_Pin, GPIO_PIN_RESET);

  /*Configure GPIO pin Output Level */
  HAL_GPIO_WritePin(GPIOC, TIME_MARKER_1_Pin|TIME_MARKER_2_Pin|FLASH_CS_8_Pin|FLASH_CS_4_Pin, GPIO_PIN_RESET);

  /*Configure GPIO pin Output Level */
  HAL_GPIO_WritePin(GPIOF, TIME_MARKER_3_Pin|TIME_MARKER_4_Pin|STATUS_LED_3_Pin|STATUS_LED_4_Pin, GPIO_PIN_RESET);

  /*Configure GPIO pin Output Level */
  HAL_GPIO_WritePin(GPIOB, STATUS_LED_1_Pin|STATUS_LED_2_Pin, GPIO_PIN_RESET);

  /*Configure GPIO pin Output Level */
  HAL_GPIO_WritePin(FLASH_CS_6_GPIO_Port, FLASH_CS_6_Pin, GPIO_PIN_RESET);

  /*Configure GPIO pin Output Level */
  HAL_GPIO_WritePin(INTERCONN_B_GPIO_Port, INTERCONN_B_Pin, GPIO_PIN_RESET);

  /*Configure GPIO pin Output Level */
  HAL_GPIO_WritePin(EX_HEARTH_BEAT_GPIO_Port, EX_HEARTH_BEAT_Pin, GPIO_PIN_RESET);

  /*Configure GPIO pins : INTERCONN_1_C_Pin INTERCONN_2_A_Pin INTERCONN_2_B_Pin INTERCONN_2_C_Pin
                           FLASH_CS_2_Pin FLASH_CS_3_Pin FLASH_CS_7_Pin FLASH_CS_1_Pin
                           FLASH_CS_5_Pin INTERCONN_1_A_Pin INTERCONN_1_B_Pin */
  GPIO_InitStruct.Pin = INTERCONN_1_C_Pin|INTERCONN_2_A_Pin|INTERCONN_2_B_Pin|INTERCONN_2_C_Pin
                          |FLASH_CS_2_Pin|FLASH_CS_3_Pin|FLASH_CS_7_Pin|FLASH_CS_1_Pin
                          |FLASH_CS_5_Pin|INTERCONN_1_A_Pin|INTERCONN_1_B_Pin;
  GPIO_InitStruct.Mode = GPIO_MODE_OUTPUT_PP;
  GPIO_InitStruct.Pull = GPIO_NOPULL;
  GPIO_InitStruct.Speed = GPIO_SPEED_FREQ_LOW;
  HAL_GPIO_Init(GPIOE, &GPIO_InitStruct);

  /*Configure GPIO pins : TIME_MARKER_1_Pin TIME_MARKER_2_Pin FLASH_CS_8_Pin FLASH_CS_4_Pin */
  GPIO_InitStruct.Pin = TIME_MARKER_1_Pin|TIME_MARKER_2_Pin|FLASH_CS_8_Pin|FLASH_CS_4_Pin;
  GPIO_InitStruct.Mode = GPIO_MODE_OUTPUT_PP;
  GPIO_InitStruct.Pull = GPIO_NOPULL;
  GPIO_InitStruct.Speed = GPIO_SPEED_FREQ_LOW;
  HAL_GPIO_Init(GPIOC, &GPIO_InitStruct);

  /*Configure GPIO pins : TIME_MARKER_3_Pin TIME_MARKER_4_Pin STATUS_LED_3_Pin STATUS_LED_4_Pin */
  GPIO_InitStruct.Pin = TIME_MARKER_3_Pin|TIME_MARKER_4_Pin|STATUS_LED_3_Pin|STATUS_LED_4_Pin;
  GPIO_InitStruct.Mode = GPIO_MODE_OUTPUT_PP;
  GPIO_InitStruct.Pull = GPIO_NOPULL;
  GPIO_InitStruct.Speed = GPIO_SPEED_FREQ_LOW;
  HAL_GPIO_Init(GPIOF, &GPIO_InitStruct);

  /*Configure GPIO pins : STATUS_LED_1_Pin STATUS_LED_2_Pin */
  GPIO_InitStruct.Pin = STATUS_LED_1_Pin|STATUS_LED_2_Pin;
  GPIO_InitStruct.Mode = GPIO_MODE_OUTPUT_PP;
  GPIO_InitStruct.Pull = GPIO_NOPULL;
  GPIO_InitStruct.Speed = GPIO_SPEED_FREQ_LOW;
  HAL_GPIO_Init(GPIOB, &GPIO_InitStruct);

  /*Configure GPIO pin : FLASH_CS_6_Pin */
  GPIO_InitStruct.Pin = FLASH_CS_6_Pin;
  GPIO_InitStruct.Mode = GPIO_MODE_OUTPUT_PP;
  GPIO_InitStruct.Pull = GPIO_NOPULL;
  GPIO_InitStruct.Speed = GPIO_SPEED_FREQ_LOW;
  HAL_GPIO_Init(FLASH_CS_6_GPIO_Port, &GPIO_InitStruct);

  /*Configure GPIO pin : INTERCONN_A_Pin */
  GPIO_InitStruct.Pin = INTERCONN_A_Pin;
  GPIO_InitStruct.Mode = GPIO_MODE_IT_RISING_FALLING;
  GPIO_InitStruct.Pull = GPIO_NOPULL;
  HAL_GPIO_Init(INTERCONN_A_GPIO_Port, &GPIO_InitStruct);

  /*Configure GPIO pin : INTERCONN_B_Pin */
  GPIO_InitStruct.Pin = INTERCONN_B_Pin;
  GPIO_InitStruct.Mode = GPIO_MODE_OUTPUT_PP;
  GPIO_InitStruct.Pull = GPIO_PULLUP;
  GPIO_InitStruct.Speed = GPIO_SPEED_FREQ_MEDIUM;
  HAL_GPIO_Init(INTERCONN_B_GPIO_Port, &GPIO_InitStruct);

  /*Configure GPIO pin : INTERCONN_C_Pin */
  GPIO_InitStruct.Pin = INTERCONN_C_Pin;
  GPIO_InitStruct.Mode = GPIO_MODE_IT_FALLING;
  GPIO_InitStruct.Pull = GPIO_NOPULL;
  HAL_GPIO_Init(INTERCONN_C_GPIO_Port, &GPIO_InitStruct);

  /*Configure GPIO pin : EX_HEARTH_BEAT_Pin */
  GPIO_InitStruct.Pin = EX_HEARTH_BEAT_Pin;
  GPIO_InitStruct.Mode = GPIO_MODE_OUTPUT_PP;
  GPIO_InitStruct.Pull = GPIO_NOPULL;
  GPIO_InitStruct.Speed = GPIO_SPEED_FREQ_LOW;
  HAL_GPIO_Init(EX_HEARTH_BEAT_GPIO_Port, &GPIO_InitStruct);

  /*Configure GPIO pins : NERVENET_1_Pin NERVENET_6_Pin NERVENET_2_Pin NERVENET_5_Pin
                           NERVENET_3_Pin NERVENET_4_Pin */
  GPIO_InitStruct.Pin = NERVENET_1_Pin|NERVENET_6_Pin|NERVENET_2_Pin|NERVENET_5_Pin
                          |NERVENET_3_Pin|NERVENET_4_Pin;
  GPIO_InitStruct.Mode = GPIO_MODE_INPUT;
  GPIO_InitStruct.Pull = GPIO_NOPULL;
  HAL_GPIO_Init(GPIOB, &GPIO_InitStruct);

  /* EXTI interrupt init*/
  HAL_NVIC_SetPriority(INTERCONN_A_EXTI_IRQn, 5, 0);
  HAL_NVIC_EnableIRQ(INTERCONN_A_EXTI_IRQn);

  HAL_NVIC_SetPriority(INTERCONN_C_EXTI_IRQn, 5, 0);
  HAL_NVIC_EnableIRQ(INTERCONN_C_EXTI_IRQn);

}

/* USER CODE BEGIN 4 */

extern CasualNoises::NerveNetMasterThread* gNerveNetMasterThreadPtr[MAX_NO_OF_NERVENET_MASTER_THREADS];
extern CasualNoises::NerveNetSlaveThread* gNerveNetSlaveThreadPtr[MAX_NO_OF_NERVENET_SLAVE_THREADS];

/* USER CODE END 4 */

void StartDefaultTask(void *argument)
{
  /* USER CODE BEGIN 5 */

	// Sweep the status led's as a sign of live...
	displayStatus((eStatusCodes)0x01);
	osDelay(100);
	displayStatus((eStatusCodes)0x02);
	osDelay(100);
	displayStatus((eStatusCodes)0x04);
	osDelay(100);
	displayStatus((eStatusCodes)0x08);
	osDelay(100);
	displayStatus(scStartingUp);

    // Get the amount of free heap memory
    size_t xFreeHeapSize = xPortGetFreeHeapSize();
    UNUSED(xFreeHeapSize);

    // Create a trigger thread to toggle TimeMarker_1
#ifdef CASUALNOISES_TRIGGER_THREAD
	TaskHandle_t xHandle;
	BaseType_t _res = xTaskCreate(CasualNoises::TriggerThread, "TriggerThread", 32, nullptr,
			TRIGGER_THREAD_PRIORITY, &xHandle);
	if (_res != pdPASS)
		CN_ReportFault(eErrorCodes::runtimeError);
#endif

/*
	// Create a TLV driver
	CasualNoises::sNVM_DriverInitData NVM_Data;
	NVM_Data.noOfDevices 			= 8;
	NVM_Data.hspix_ptr				= &hspi1;
	NVM_Data.deviceSelectPorts[0]	= FLASH_CS_1_GPIO_Port;
	NVM_Data.deviceSelectPins[0]	= FLASH_CS_1_Pin;
	NVM_Data.deviceSelectPorts[1]	= FLASH_CS_2_GPIO_Port;
	NVM_Data.deviceSelectPins[1]	= FLASH_CS_2_Pin;
	NVM_Data.deviceSelectPorts[2]	= FLASH_CS_3_GPIO_Port;
	NVM_Data.deviceSelectPins[2]	= FLASH_CS_3_Pin;
	NVM_Data.deviceSelectPorts[3]	= FLASH_CS_4_GPIO_Port;
	NVM_Data.deviceSelectPins[3]	= FLASH_CS_4_Pin;
	NVM_Data.deviceSelectPorts[4]	= FLASH_CS_5_GPIO_Port;
	NVM_Data.deviceSelectPins[4]	= FLASH_CS_5_Pin;
	NVM_Data.deviceSelectPorts[5]	= FLASH_CS_6_GPIO_Port;
	NVM_Data.deviceSelectPins[5]	= FLASH_CS_6_Pin;
	NVM_Data.deviceSelectPorts[6]	= FLASH_CS_7_GPIO_Port;
	NVM_Data.deviceSelectPins[6]	= FLASH_CS_7_Pin;
	NVM_Data.deviceSelectPorts[7]	= FLASH_CS_8_GPIO_Port;
	NVM_Data.deviceSelectPins[7]	= FLASH_CS_8_Pin;
	CasualNoises::W25Qxx_Driver* NVM_DriverPtr = new CasualNoises::W25Qxx_Driver(&NVM_Data);
								 TLV_DriverPtr = new CasualNoises::TLV_Driver(NVM_DriverPtr);
*/

	// Synthesiser parameters
    static CasualNoises::sSynthesiserParams synthParams;
	synthParams.frequency = 110.0f;

	// Create an audio thread and run it
	static CasualNoises::AudioProcessor* audioProcessorPtr = CasualNoises::SouthSideAudioProcessor::getSouthSideAudioProcessor();
	audioProcessorPtr->prepareToPlay(SAMPLE_FREQUENCY, NUM_SAMPLES, &synthParams);

	// There are no NerveNet threads running
	for (uint32_t i = 0; i < MAX_NO_OF_NERVENET_MASTER_THREADS; ++i)
		gNerveNetMasterThreadPtr[i] = nullptr;
	for (uint32_t i = 0; i < MAX_NO_OF_NERVENET_SLAVE_THREADS; ++i)
		gNerveNetSlaveThreadPtr[i] = nullptr;

	// Start NerveNet slave thread
	uint32_t performanceResult = 0;
	static CasualNoises::sNerveNetThreadData nerveNetThreadData;
	nerveNetThreadData.NerveNetThreadNo			= 0;
	nerveNetThreadData.NerveNet_REQ_Port		= INTERCONN_A_GPIO_Port;
	nerveNetThreadData.NerveNet_REQ_Pin			= INTERCONN_A_Pin;
	nerveNetThreadData.NerveNet_ACK_Port		= INTERCONN_B_GPIO_Port;
	nerveNetThreadData.NerveNet_ACK_Pin			= INTERCONN_B_Pin;
	nerveNetThreadData.NerveNet_RESET_Port		= INTERCONN_C_GPIO_Port;
	nerveNetThreadData.NerveNet_RESET_Pin		= INTERCONN_C_Pin;
	nerveNetThreadData.NerveNet_SPI_Ptr			= &hspi2;
	nerveNetThreadData.AudioProcessorPtr		= audioProcessorPtr;
	nerveNetThreadData.PerformanceTestTimerPtr	= &htim5;
	nerveNetThreadData.PerformanceResultPtr		= &performanceResult;
	static TaskHandle_t xHandlePtr;
	static CasualNoises::NerveNetSlaveThread nerveNetSlaveThread;
	BaseType_t res = CasualNoises::startNerveNetSlaveThread(&nerveNetSlaveThread, &nerveNetThreadData, &xHandlePtr);
	if (res != pdPASS)
		CN_ReportFault(eErrorCodes::NerveNetThread_Error);

	// Update status led's
	displayStatus(scReady);

	/* Infinite loop */
	for(;;)
	{
		HAL_GPIO_WritePin(EX_HEARTH_BEAT_GPIO_Port, EX_HEARTH_BEAT_Pin, GPIO_PIN_SET);
		osDelay(500);
		HAL_GPIO_WritePin(EX_HEARTH_BEAT_GPIO_Port, EX_HEARTH_BEAT_Pin, GPIO_PIN_RESET);
		osDelay(500);
	}
  /* USER CODE END 5 */
}

 /* MPU Configuration */

void MPU_Config(void)
{
  MPU_Region_InitTypeDef MPU_InitStruct = {0};

  /* Disables the MPU */
  HAL_MPU_Disable();

  /** Initializes and configures the Region and the memory to be protected
  */
  MPU_InitStruct.Enable = MPU_REGION_ENABLE;
  MPU_InitStruct.Number = MPU_REGION_NUMBER0;
  MPU_InitStruct.BaseAddress = 0x0;
  MPU_InitStruct.Size = MPU_REGION_SIZE_4GB;
  MPU_InitStruct.SubRegionDisable = 0x87;
  MPU_InitStruct.TypeExtField = MPU_TEX_LEVEL0;
  MPU_InitStruct.AccessPermission = MPU_REGION_NO_ACCESS;
  MPU_InitStruct.DisableExec = MPU_INSTRUCTION_ACCESS_DISABLE;
  MPU_InitStruct.IsShareable = MPU_ACCESS_SHAREABLE;
  MPU_InitStruct.IsCacheable = MPU_ACCESS_NOT_CACHEABLE;
  MPU_InitStruct.IsBufferable = MPU_ACCESS_NOT_BUFFERABLE;

  HAL_MPU_ConfigRegion(&MPU_InitStruct);
  /* Enables the MPU */
  HAL_MPU_Enable(MPU_PRIVILEGED_DEFAULT);

}

void HAL_TIM_PeriodElapsedCallback(TIM_HandleTypeDef *htim)
{
  if (htim->Instance == TIM1)
  {
    HAL_IncTick();
  }
  /* USER CODE BEGIN Callback 1 */

	if (htim->Instance == TIM1)
	{
		return;
	} else
	{
		CN_TIM_PeriodElapsedCallback(htim);
	}

  /* USER CODE END Callback 1 */
}

void Error_Handler(void)
{
  __disable_irq();
  while (1)
  {
  }
}
